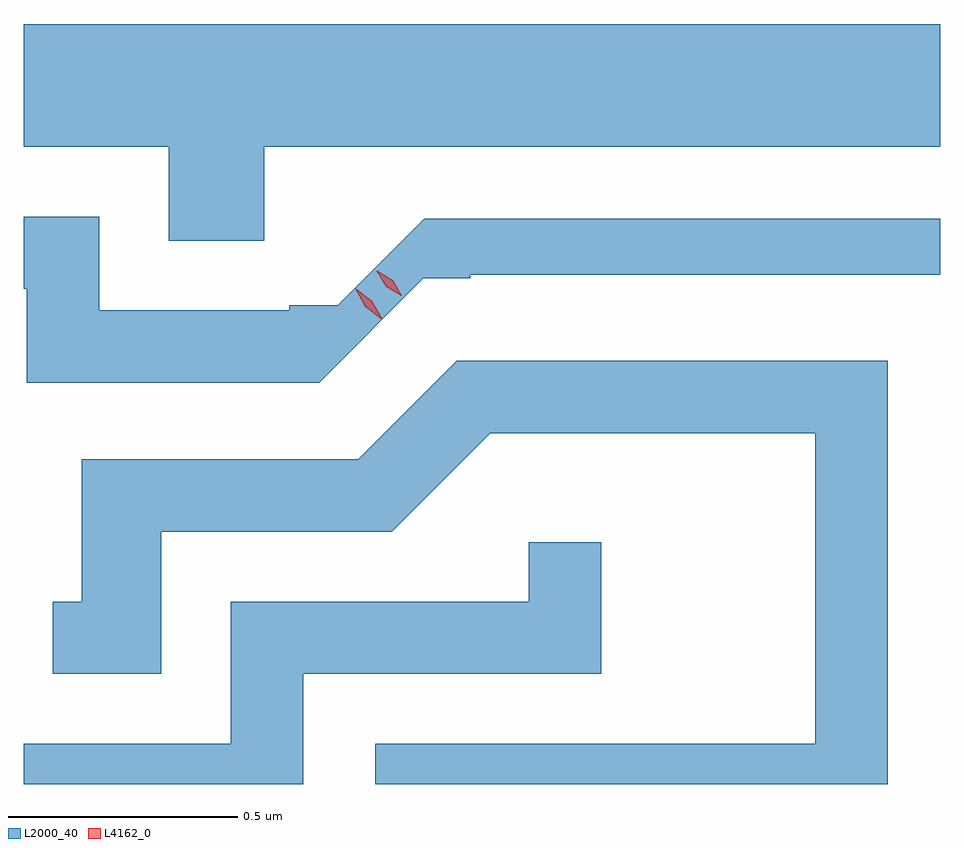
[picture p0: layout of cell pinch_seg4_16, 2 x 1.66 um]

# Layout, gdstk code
import gdstk
lib = gdstk.Library(unit=1e-6, precision=1e-09)
def P(c, l, *ps):  # polygons
    for p in ps: c.add(gdstk.Polygon(p, *l))
L2000_40 = (2000, 40)
L4162_0 = (4162, 0)

pinch_seg4_16 = lib.new_cell('pinch_seg4_16')
P(pinch_seg4_16, L2000_40, [(860.009,1316.936),(861.484,1316.936),(861.484,1317.204),(859.484,1317.204),(859.484,1316.936),(859.801,1316.936),(859.801,1316.731),(860.009,1316.731)],
  [(860.356,1316.649),(860.458,1316.649),(860.458,1316.657),(861.484,1316.657),(861.484,1316.779),(860.358,1316.779),(860.169,1316.59),(860.064,1316.59),(860.064,1316.579),(859.649,1316.579),(859.649,1316.784),(859.484,1316.784),(859.484,1316.626),(859.491,1316.626),(859.491,1316.421),(860.129,1316.421)],
  [(861.369,1316.469),(860.429,1316.469),(860.214,1316.254),(859.611,1316.254),(859.611,1315.944),(859.548,1315.944),(859.548,1315.786),(859.784,1315.786),(859.784,1316.096),(860.287,1316.096),(860.502,1316.311),(861.211,1316.311),(861.211,1315.634),(860.251,1315.634),(860.251,1315.546),(861.369,1315.546)],
  [(860.094,1315.786),(860.744,1315.786),(860.744,1316.073),(860.586,1316.073),(860.586,1315.944),(859.936,1315.944),(859.936,1315.634),(859.484,1315.634),(859.484,1315.546),(860.094,1315.546)])
P(pinch_seg4_16, L4162_0, [(860.308,1316.611),(860.275,1316.631),(860.254,1316.665),(860.254,1316.666),(860.255,1316.666),(860.289,1316.645),(860.309,1316.611),(860.309,1316.611)],
  [(860.265,1316.56),(860.229,1316.587),(860.207,1316.627),(860.207,1316.628),(860.207,1316.628),(860.244,1316.6),(860.266,1316.561),(860.266,1316.56)])

lib.write_gds('pinch_seg4_16.gds')
